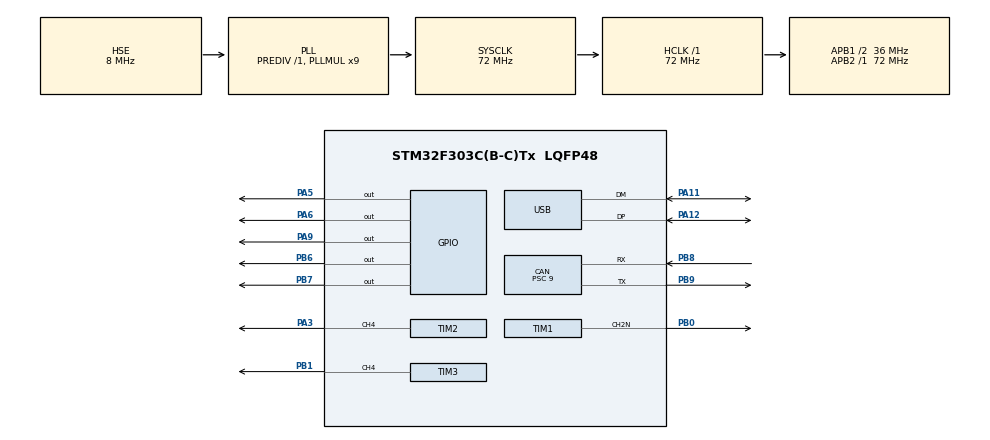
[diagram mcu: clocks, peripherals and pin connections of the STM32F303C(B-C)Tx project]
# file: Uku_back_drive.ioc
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CAN.BS1=CAN_BS1_5TQ
CAN.BS2=CAN_BS2_2TQ
CAN.CalculateTimeBit=2000
CAN.CalculateTimeQuantum=250.0
CAN.Prescaler=9
Mcu.Family=STM32F3
Mcu.Name=STM32F303C(B-C)Tx
Mcu.Package=LQFP48
NVIC.PriorityGroup=NVIC_PRIORITYGROUP_4
NVIC.USB_LP_IRQn=true\:0\:0\:false\:false\:true\:false
PA11.Mode=Device
PA11.Signal=USB_DM
PA12.Mode=Device
PA12.Signal=USB_DP
PA13.Mode=Serial_Wire
PA13.Signal=SYS_JTMS-SWDIO
PA14.Mode=Serial_Wire
PA14.Signal=SYS_JTCK-SWCLK
PA3.Signal=S_TIM2_CH4
PA5.Signal=GPIO_Output
PA6.Signal=GPIO_Output
PA9.Signal=GPIO_Output
PB0.Mode=PWM Generation2 CH2N
PB0.Signal=TIM1_CH2N
PB1.Signal=S_TIM3_CH4
PB6.Signal=GPIO_Output
PB7.Signal=GPIO_Output
PB8.Mode=Master
PB8.Signal=CAN_RX
PB9.Mode=Master
PB9.Signal=CAN_TX
PF0-OSC_IN.Mode=HSE-External-Oscillator
PF0-OSC_IN.Signal=RCC_OSC_IN
PF1-OSC_OUT.Mode=HSE-External-Oscillator
PF1-OSC_OUT.Signal=RCC_OSC_OUT
ProjectManager.HeapSize=0x200
ProjectManager.StackSize=0x400
ProjectManager.TargetToolchain=SW4STM32
RCC.AHBFreq_Value=72000000
RCC.APB1CLKDivider=RCC_HCLK_DIV2
RCC.APB1Freq_Value=36000000
RCC.APB1TimFreq_Value=72000000
RCC.APB2Freq_Value=72000000
RCC.APB2TimFreq_Value=72000000
RCC.CortexFreq_Value=72000000
RCC.HCLKFreq_Value=72000000
RCC.HSE_VALUE=8000000
RCC.HSI_VALUE=8000000
RCC.LSE_VALUE=32768
RCC.PLLMUL=RCC_PLL_MUL9
RCC.PRESCALERUSB=RCC_USBCLKSOURCE_PLL_DIV1_5
RCC.SYSCLKFreq_VALUE=72000000
RCC.SYSCLKSourceVirtual=RCC_SYSCLKSOURCE_PLLCLK
RCC.USBFreq_Value=48000000
SH.S_TIM2_CH4.0=TIM2_CH4,PWM Generation4 CH4
SH.S_TIM3_CH4.0=TIM3_CH4,PWM Generation4 CH4
TIM1.Channel-PWM\ Generation2\ CH2N=TIM_CHANNEL_2
TIM2.Channel-PWM\ Generation4\ CH4=TIM_CHANNEL_4
TIM3.Channel-PWM\ Generation4\ CH4=TIM_CHANNEL_4
USB_DEVICE.CLASS_NAME_FS=CDC
USB_DEVICE.VirtualMode=Cdc
USB_DEVICE.VirtualModeFS=Cdc_FS
VP_USB_DEVICE_VS_USB_DEVICE_CDC_FS.Mode=CDC_FS
board=Uku_back_drive

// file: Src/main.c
/**
  ******************************************************************************
  * @file           : main.c
  * @brief          : Main program body
  ******************************************************************************
  * This notice applies to any and all portions of this file
  * that are not between comment pairs USER CODE BEGIN and
  * USER CODE END. Other portions of this file, whether
  * inserted by the user or by software development tools
  * are owned by their respective copyright owners.
  *
  * Copyright (c) 2018 STMicroelectronics International N.V.
  * All rights reserved.
  *
  * Redistribution and use in source and binary forms, with or without
  * modification, are permitted, provided that the following conditions are met:
  *
  * 1. Redistribution of source code must retain the above copyright notice,
  *    this list of conditions and the following disclaimer.
  * 2. Redistributions in binary form must reproduce the above copyright notice,
  *    this list of conditions and the following disclaimer in the documentation
  *    and/or other materials provided with the distribution.
  * 3. Neither the name of STMicroelectronics nor the names of other
  *    contributors to this software may be used to endorse or promote products
  *    derived from this software without specific written permission.
  * 4. This software, including modifications and/or derivative works of this
  *    software, must execute solely and exclusively on microcontroller or
  *    microprocessor devices manufactured by or for STMicroelectronics.
  * 5. Redistribution and use of this software other than as permitted under
  *    this license is void and will automatically terminate your rights under
  *    this license.
  *
  * THIS SOFTWARE IS PROVIDED BY STMICROELECTRONICS AND CONTRIBUTORS "AS IS"
  * AND ANY EXPRESS, IMPLIED OR STATUTORY WARRANTIES, INCLUDING, BUT NOT
  * LIMITED TO, THE IMPLIED WARRANTIES OF MERCHANTABILITY, FITNESS FOR A
  * PARTICULAR PURPOSE AND NON-INFRINGEMENT OF THIRD PARTY INTELLECTUAL PROPERTY
  * RIGHTS ARE DISCLAIMED TO THE FULLEST EXTENT PERMITTED BY LAW. IN NO EVENT
  * SHALL STMICROELECTRONICS OR CONTRIBUTORS BE LIABLE FOR ANY DIRECT, INDIRECT,
  * INCIDENTAL, SPECIAL, EXEMPLARY, OR CONSEQUENTIAL DAMAGES (INCLUDING, BUT NOT
  * LIMITED TO, PROCUREMENT OF SUBSTITUTE GOODS OR SERVICES; LOSS OF USE, DATA,
  * OR PROFITS; OR BUSINESS INTERRUPTION) HOWEVER CAUSED AND ON ANY THEORY OF
  * LIABILITY, WHETHER IN CONTRACT, STRICT LIABILITY, OR TORT (INCLUDING
  * NEGLIGENCE OR OTHERWISE) ARISING IN ANY WAY OUT OF THE USE OF THIS SOFTWARE,
  * EVEN IF ADVISED OF THE POSSIBILITY OF SUCH DAMAGE.
  *
  ******************************************************************************
  */
#include "main.h"
#include "stm32f3xx_hal.h"
#include "can.h"
#include "tim.h"
#include "usb_device.h"
#include "gpio.h"

/* USER CODE BEGIN PV */
/* Private variables ---------------------------------------------------------*/
uint8_t g_cdcBuf[10];
uint8_t g_cdcBuf1[10];
uint8_t g_cdcBuf2[10];
uint8_t g_SpaPowerStatus;
uint16_t g_sendDelay;
float speed = 0;
uint8_t temp[4];
#define SPA_TX_SEND_INTERVAL 50
/* USER CODE END PV */

void SystemClock_Config(void);
void HAL_TIM_MspPostInit(TIM_HandleTypeDef *htim);

/* USER CODE BEGIN PFP */
/* Private function prototypes -----------------------------------------------*/

/* USER CODE END PFP */

int main(void)
{

  /* MCU Configuration----------------------------------------------------------*/

  /* Reset of all peripherals, Initializes the Flash interface and the Systick. */
  HAL_Init();

  /* Configure the system clock */
  SystemClock_Config();

  /* Initialize all configured peripherals */
  MX_GPIO_Init();
  MX_TIM1_Init();
  MX_CAN_Init();
  MX_TIM3_Init();
  MX_TIM2_Init();
  MX_USB_DEVICE_Init();
  /* USER CODE BEGIN 2 */

 // HAL_TIM_PWM_Start(&htim2, TIM_CHANNEL_4); //Brake
  HAL_TIM_PWM_Start(&htim3, TIM_CHANNEL_4); // Gas
  TIM3->CCR4 = 0;
  HAL_Delay(500);
  HAL_GPIO_WritePin(GPIOB, GPIO_PIN_7, RESET); //Pin 4 Key switch
  HAL_Delay(500);
  HAL_GPIO_WritePin(GPIOB, GPIO_PIN_7, GPIO_PIN_SET); //Pin 4 Key switch
  HAL_GPIO_WritePin(GPIOA, GPIO_PIN_5, RESET); //3Pin 7 Foot
  HAL_GPIO_WritePin(GPIOA, GPIO_PIN_9, RESET); //Pin 9 Seat
  HAL_GPIO_WritePin(GPIOA, GPIO_PIN_6, RESET); //Pin 5 Reverse
  HAL_GPIO_WritePin(GPIOB, GPIO_PIN_6, RESET); //Pin 3 Forward
  HAL_Delay(500);
  HAL_GPIO_WritePin(GPIOA, GPIO_PIN_5, GPIO_PIN_SET); //Pin 7 Foot
  HAL_GPIO_WritePin(GPIOA, GPIO_PIN_9, GPIO_PIN_SET); //Pin 9 Seat
  HAL_Delay(500);
 // HAL_TIM_PWM_Start(&htim3, TIM_CHANNEL_4); // Gas
  //HAL_Delay(1500);

  //HAL_GPIO_WritePin(GPIOA, GPIO_PIN_6, GPIO_PIN_SET);

  /* USER CODE END 2 */

  /* Infinite loop */
  /* USER CODE BEGIN WHILE */
  while (1)
  {

	 // HAL_Delay(1000);
	  //g_sendDelay++;

	  // Control range on 3.5 volt controller is 8000-> max speed, 3000 -> zero speed
	  //Uku control 6400 -> 8000

	 // TIM3->CCR4 = 8000;
	 // TIM3->CCR4 = 8000;

  	  HAL_CAN_Receive(&hcan, CAN_FIFO0, 10);

  	  // Check if CAN packet 439h is received (SPA distance)

  	  // Velocity id from master controller --> 0x210
  	  // Range of velocity is -5.5 	to	 5.5
	  if ((hcan.pRxMsg->StdId == 0x500) && (hcan.pRxMsg->IDE == CAN_ID_STD) && (hcan.pRxMsg->DLC == 0x4) )

	  //if (hcan.pRxMsg->StdId == 0x500 )
	  {

		  temp [0] = hcan.pRxMsg->Data[3];
		  temp [1] = hcan.pRxMsg->Data[2];
		  temp [2] = hcan.pRxMsg->Data[1];
		  temp [3] = hcan.pRxMsg->Data[0];
		  speed = *((float*)temp);

		  if (speed > 0){

			  HAL_GPIO_WritePin(GPIOA, GPIO_PIN_6, RESET); //Pin 5 Reverse
			  HAL_GPIO_WritePin(GPIOB, GPIO_PIN_6, GPIO_PIN_SET); //Pin 3 Forward
			  TIM3->CCR4 =  4000 + (int)(speed * 727); //send -1 to
		  }

		  else if (speed < 0){

			  HAL_GPIO_WritePin(GPIOA, GPIO_PIN_6, GPIO_PIN_SET); //Pin 5 Reverse
			  HAL_GPIO_WritePin(GPIOB, GPIO_PIN_6, RESET); //Pin 3 Forward

			  TIM3->CCR4 = 4000 + (int)((speed *(-1))*727);
		  }
		  else {
			  TIM3->CCR4 =  0;
		  }

		  HAL_Delay(100);
		  hcan.pRxMsg->StdId = 0;
	  }

  /* USER CODE END WHILE */

  }

}

void SystemClock_Config(void)
{

  RCC_OscInitTypeDef RCC_OscInitStruct;
  RCC_ClkInitTypeDef RCC_ClkInitStruct;
  RCC_PeriphCLKInitTypeDef PeriphClkInit;

    /**Initializes the CPU, AHB and APB busses clocks
    */
  RCC_OscInitStruct.OscillatorType = RCC_OSCILLATORTYPE_HSE;
  RCC_OscInitStruct.HSEState = RCC_HSE_ON;
  RCC_OscInitStruct.HSEPredivValue = RCC_HSE_PREDIV_DIV1;
  RCC_OscInitStruct.HSIState = RCC_HSI_ON;
  RCC_OscInitStruct.PLL.PLLState = RCC_PLL_ON;
  RCC_OscInitStruct.PLL.PLLSource = RCC_PLLSOURCE_HSE;
  RCC_OscInitStruct.PLL.PLLMUL = RCC_PLL_MUL9;
  if (HAL_RCC_OscConfig(&RCC_OscInitStruct) != HAL_OK)
  {
    _Error_Handler(__FILE__, __LINE__);
  }

    /**Initializes the CPU, AHB and APB busses clocks
    */
  RCC_ClkInitStruct.ClockType = RCC_CLOCKTYPE_HCLK|RCC_CLOCKTYPE_SYSCLK
                              |RCC_CLOCKTYPE_PCLK1|RCC_CLOCKTYPE_PCLK2;
  RCC_ClkInitStruct.SYSCLKSource = RCC_SYSCLKSOURCE_PLLCLK;
  RCC_ClkInitStruct.AHBCLKDivider = RCC_SYSCLK_DIV1;
  RCC_ClkInitStruct.APB1CLKDivider = RCC_HCLK_DIV2;
  RCC_ClkInitStruct.APB2CLKDivider = RCC_HCLK_DIV1;

  if (HAL_RCC_ClockConfig(&RCC_ClkInitStruct, FLASH_LATENCY_2) != HAL_OK)
  {
    _Error_Handler(__FILE__, __LINE__);
  }

  PeriphClkInit.PeriphClockSelection = RCC_PERIPHCLK_USB|RCC_PERIPHCLK_TIM1;
  PeriphClkInit.USBClockSelection = RCC_USBCLKSOURCE_PLL_DIV1_5;
  PeriphClkInit.Tim1ClockSelection = RCC_TIM1CLK_HCLK;
  if (HAL_RCCEx_PeriphCLKConfig(&PeriphClkInit) != HAL_OK)
  {
    _Error_Handler(__FILE__, __LINE__);
  }

    /**Configure the Systick interrupt time
    */
  HAL_SYSTICK_Config(HAL_RCC_GetHCLKFreq()/1000);

    /**Configure the Systick
    */
  HAL_SYSTICK_CLKSourceConfig(SYSTICK_CLKSOURCE_HCLK);

  /* SysTick_IRQn interrupt configuration */
  HAL_NVIC_SetPriority(SysTick_IRQn, 0, 0);
}

void _Error_Handler(char *file, int line)
{
  while(1)
  {
  }
}

/************************ (C) COPYRIGHT STMicroelectronics *****END OF FILE****/
